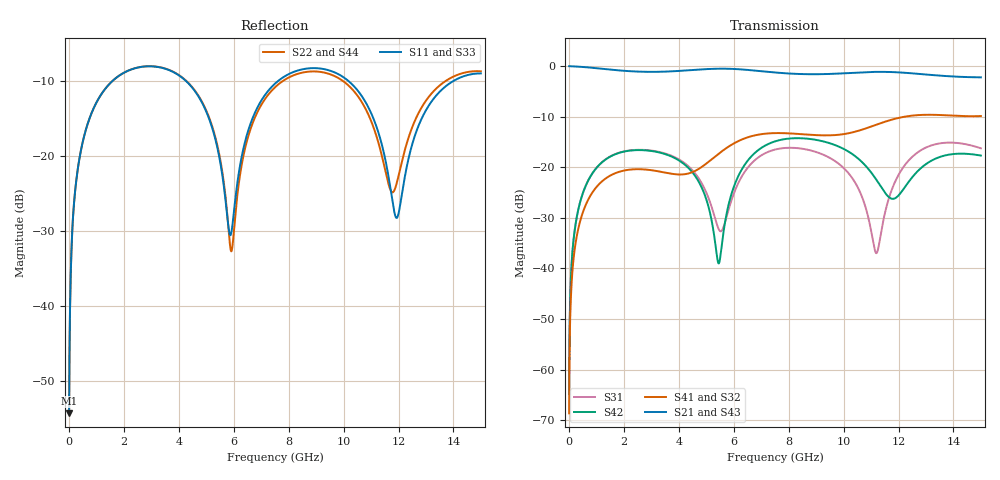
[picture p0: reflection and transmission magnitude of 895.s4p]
! Created with skrf 1.8.0 (http://scikit-rf.org).
# GHz S RI R 50.0
!freq ReS11 ImS11 ReS12 ImS12 ReS13 ImS13
! ReS14 ImS14
! ReS21 ImS21 ReS22 ImS22 ReS23 ImS23
! ReS24 ImS24
! ReS31 ImS31 ReS32 ImS32 ReS33 ImS33
! ReS34 ImS34
! ReS41 ImS41 ReS42 ImS42 ReS43 ImS43
! ReS44 ImS44
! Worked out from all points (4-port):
!   2499 points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, 5 MHz to 15 GHz, reference 50 ohm
!   strongest paths, dB at 5 MHz, 3.476 GHz, 7.19 GHz, 11.1 GHz, 15 GHz:
!     S21: 0.0, -1.1, -1.1, -1.1, -2.2
!     S43: 0.0, -1.1, -1.1, -1.2, -2.2
!     S41: -68.6, -21.0, -13.3, -11.8, -9.9
!     S32: -68.6, -21.1, -13.4, -11.8, -9.9
!     S42: -64.8, -17.3, -15.6, -21.7, -17.7
!     S31: -64.8, -17.2, -17.1, -35.4, -16.2
!   lowest |S11| = -54.3 dB at 5 MHz (marker M1), VSWR 1.00, Z = 50.2 + j0.117 ohm
!   |S11| at or under -10 dB: start of sweep to 1.584 GHz; 4.261 GHz to 7.615 GHz (3.353 GHz wide, 56.5 % of centre); 10.18 GHz to 14 GHz (3.822 GHz wide, 31.6 % of centre)
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0.005  0.00152 0.00116  0.9984 -0.00297  7.5e-05 0.00057  -7.31e-05 -0.000363
       0.9984 -0.00297  0.00152 0.00116  -7.31e-05 -0.000363  7.5e-05 0.00057
       7.5e-05 0.00057  -7.31e-05 -0.000363  0.00152 0.00116  0.9984 -0.00297
       -7.31e-05 -0.000363  7.5e-05 0.00057  0.9984 -0.00297  0.00152 0.00116
0.3126303  0.0212 0.077  0.9711 -0.1852  0.00919 0.0341  -0.00768 -0.0216
           0.9711 -0.1852  0.0212 0.077  -0.00767 -0.0216  0.00911 0.0342
           0.00919 0.0341  -0.00767 -0.0216  0.0212 0.077  0.9711 -0.1852
           -0.00768 -0.0216  0.00911 0.0342  0.9711 -0.1852  0.0212 0.077
1.569404  0.2525 0.1874  0.5888 -0.7067  0.1152 0.0615  -0.0837 -0.0124
          0.5888 -0.7067  0.2529 0.1873  -0.0835 -0.0126  0.1141 0.063
          0.1152 0.0615  -0.0835 -0.0126  0.2526 0.1873  0.5888 -0.7067
          -0.0837 -0.0124  0.1141 0.063  0.5888 -0.7067  0.2528 0.1873
5.727386  0.0314 -0.0331  -0.9307 -0.1469  -0.0218 0.0228  -0.0187 0.1534
          -0.9307 -0.1469  0.0258 -0.0403  -0.0223 0.1529  0.0169 0.0288
          -0.0218 0.0228  -0.0223 0.1529  0.0304 -0.0329  -0.9308 -0.1466
          -0.0187 0.1534  0.0169 0.0288  -0.9308 -0.1466  0.0267 -0.0399
9.185077  0.3783 -0.0549  0.0287 0.8318  0.1268 -0.0485  0.1944 -0.071
          0.0287 0.8318  0.3616 -0.0322  0.1946 -0.0632  0.1279 -0.1298
          0.1268 -0.0485  0.1946 -0.0632  0.3807 -0.0569  0.0287 0.8312
          0.1944 -0.071  0.1279 -0.1298  0.0287 0.8312  0.362 -0.0298
11.94248  0.0386 0.000188  0.8663 0.0664  0.0497 0.0607  0.00759 -0.3047
          0.8663 0.0664  0.0593 0.0305  0.0222 -0.3041  -0.0275 0.0428
          0.0497 0.0607  0.0222 -0.3041  0.0344 -0.00147  0.8662 0.0671
          0.00759 -0.3047  -0.0275 0.0428  0.8662 0.0671  0.0652 0.0277
15  0.3547 0.0188  0.0668 -0.7713  0.064 -0.1401  -0.3209 0.0107
    0.0668 -0.7713  0.3669 0.00608  -0.32 -0.00897  0.0529 -0.1194
    0.064 -0.1401  -0.32 -0.00897  0.3555 0.0196  0.0667 -0.7713
    -0.3209 0.0107  0.0529 -0.1194  0.0667 -0.7713  0.366 0.00428
